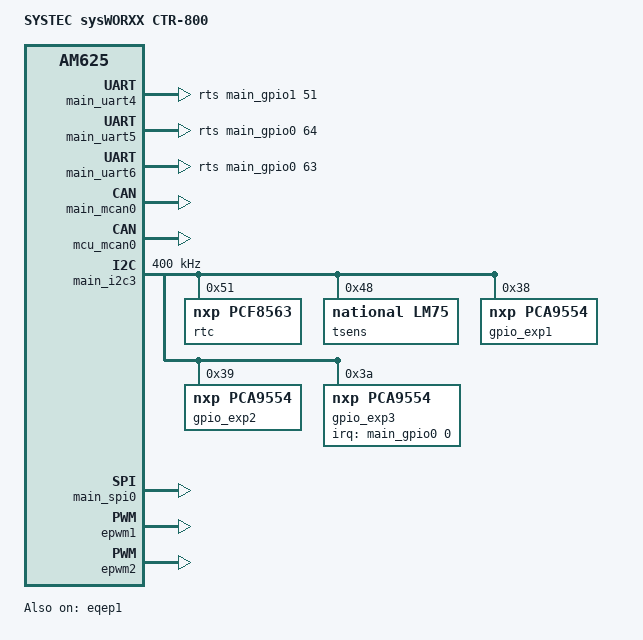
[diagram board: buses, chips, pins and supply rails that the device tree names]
/*
 * Copyright (C) 2023 SYSTEC electronic AG, All Rights Reserved
 *
 * This program is free software; you can redistribute it and/or modify
 * it under the terms of the GNU General Public License version 2 as
 * published by the Free Software Foundation.
 */
/dts-v1/;

#include "k3-am625.dtsi"
#include "k3-am623-systec-ctr800-pinmux-0.dtsi"
#include "k3-am623-systec-ctr-common.dtsi"

/ {
	model = "SYSTEC sysWORXX CTR-800";
	compatible = "systec,ctr800,rev0", "systec,ctr800", "ti,am625";

	aliases {
		// serial0 = &mcu_uart0;
		// serial2 = &main_uart0;
		serial4 = &main_uart4;
		serial5 = &main_uart5;
		serial6 = &main_uart6;
		rtc0 = &rtc;
		rtc1 = &wkup_rtc0;
	};
};

// SERIAL0
&main_uart4 {
	pinctrl-names = "default";
	pinctrl-0 = <&uart4_serial0_pins_default>;
	status = "okay";
	// uart-has-rtscts;
	rts-gpios = <&main_gpio1 51 GPIO_ACTIVE_HIGH>;
	// sermode-gpio = <&gpio_exp2 0 GPIO_ACTIVE_HIGH>;
};

// SERIAL1
&main_uart5 {
	pinctrl-names = "default";
	pinctrl-0 = <&uart5_serial1_pins_default>;
	status = "okay";
	// uart-has-rtscts;
	rts-gpios = <&main_gpio0 64 GPIO_ACTIVE_HIGH>;
	// sermode-gpio = <&gpio_exp2 1 GPIO_ACTIVE_HIGH>;
};

// SERIAL2
&main_uart6 {
	pinctrl-names = "default";
	pinctrl-0 = <&uart6_serial2_pins_default>;
	status = "okay";
	// uart-has-rtscts;
	rts-gpios = <&main_gpio0 63 GPIO_ACTIVE_HIGH>;
	// sermode-gpio = <&gpio_exp2 2 GPIO_ACTIVE_HIGH>;
};

// CAN0
&main_mcan0 {
	pinctrl-names = "default";
	pinctrl-0 = <&mcan0_pins_default>;
	status = "okay";
};

// CAN1
&mcu_mcan0 {
	pinctrl-names = "default";
	pinctrl-0 = <&mcumcan0_pins_default>;
	status = "okay";
};

// I2C3_BOARD
&main_i2c3 {
	status = "okay";
	pinctrl-names = "default";
	pinctrl-0 = <&i2c3board_pins_default>;
	clock-frequency = <400000>;

	/* RTC */
	rtc: pcf8563@51 {
		compatible = "nxp,pcf8563";
		reg = <0x51>;
	};

	/* Temperature sensor */
	tsens: lm75b@48 {
		compatible = "national,lm75";
		reg = <0x48>;
	};

	/* I/O expander for current/voltage switch (ADC) */
	gpio_exp1: pca9554@38 {
		compatible = "nxp,pca9554";
		reg = <0x38>;
		gpio-controller;
		#gpio-cells = <2>;
		gpio-line-names =
			"EN_U0", "EN_U1", "EN_U2", "EN_U3",
			"EN_I0", "EN_I1", "EN_I2", "EN_I3";
	};

	/* I/O expander for RS232/485 switching and DI filter configuration */
	gpio_exp2: pca9554@39 {
		compatible = "nxp,pca9554";
		reg = <0x39>;
		gpio-controller;
		#gpio-cells = <2>;
		gpio-line-names =
			"SER0_MODE", "SER1_MODE", "SER2_MODE", "DS0",
			"DS1",       "",          "",          "";
	};

	/* I/O expander for diagnose */
	gpio_exp3: pca9554@3a {
		compatible = "nxp,pca9554";
		reg = <0x3a>;
		gpio-controller;
		#gpio-cells = <2>;
		gpio-line-names =
			"DO0_PF", "DO_DIAG", "/DI_ERR", "USB1_OC",
			"",       "",        "",        "";
		interrupt-controller;
		interrupt-parent = <&main_gpio0>;
		interrupts = <0 IRQ_TYPE_EDGE_FALLING>;
		// https://e2e.ti.com/support/processors-group/processors/f/processors-forum/1262930/am625-request_irq-return--22
	};
};

&main_spi0 {
	status = "okay";
	pinctrl-names = "default";
	pinctrl-0 = <&spi0_pins_default>;
	#address-cells = <1>;
	#size-cells = <0>;
	cs-gpios = <&main_gpio0 7 GPIO_ACTIVE_LOW>;

	// spidev@0 {
	// 	spi-max-frequency = <1000000>;
	// 	reg = <0>;
	// };
};

&epwm1 {
	pinctrl-names = "default";
	pinctrl-0 = <&pwm1do14_pins_default>;
	status = "okay";
};

&epwm2 {
	pinctrl-names = "default";
	pinctrl-0 = <&pwm2do15_pins_default>;
	status = "okay";
};

&eqep1 {
	pinctrl-names = "default";
	pinctrl-0 = <&eqep0di14di15_pins_default>;
	status = "okay";
};

&main_gpio0 {
	pinctrl-names = "default";
	pinctrl-0 = <&gpio0_pins_default>;
	gpio-line-names      =
		"/COM_DIAG_INT", "DO_10",    "",        "RELAY0_EN",     // 0
		"RELAY1_EN",     "LED_RUN",  "LED_ERR", "SPI2_SS",       // 4
		"",              "",         "",        "RUN_SW",        // 8
		"/BOOT",         "SER1_RX",  "SER1_TX", "",              // 12
		"",              "DO_9",     "",        "DO_12",         // 16
		"DO_13",         "",         "",        "",              // 20
		"",              "",         "DO_11",   "",              // 24
		"",              "",         "",        "DI_0",          // 28
		"DI_1",          "DI_2",     "DI_3",    "DI_4",          // 32
		"DI_5",          "DI_6",     "DI_7",    "DI_8",          // 36
		"DI_9",          "DI_10",    "DI_11",   "/PF",           // 40
		"",              "DI_12",    "DI_13",   "DI_14",         // 44
		"DI_15",         "SER0_RX",  "SER0_TX", "DO_2",          // 48
		"DO_3",          "SER2_RX",  "SER2_TX", "SER2_RTS",      // 52
		"SER2_CTS",      "DO_4",     "DO_5",    "DO_6",          // 56
		"DO_7",          "DO_8",     "/CONFIG", "SER2_DEN",      // 60
		"SER1_DEN",      "",         "",        "",              // 64
		"",              "",         "",        "WLAN_/DISABLE", // 68
		"BT_REG_ON",     "",         "",        "",              // 72
		"",              "",         "",        "",              // 76
		"",              "",         "",        "",              // 80
		"",              "ETH_MDIO", "ETH_MDC", "",              // 84
		"",              "",         "",        "";              // 88
};

&main_gpio1 {
	pinctrl-names = "default";
	pinctrl-0 = <&gpio1_pins_default>;
	gpio-line-names =
		"",            "",           "",               "",               // 0
		"",            "",           "",               "",               // 4
		"",            "DO_14_PWM",  "eMMC_/RST",      "DI_14_PHA_A",    // 8
		"DI_15_PHA_B", "",           "",               "ETH0_/RST",      // 12
		"",            "SPI2_SCLK",  "SPI2_MOSI",      "SPI2_MISO",      // 16
		"SERVICE_RX",  "SERVICE_TX", "I2C3_BOARD_SCL", "I2C3_BOARD_SDA", // 20
		"MCAN0_TX",    "MCAN0_RX",   "I2C0_SOM_SCL",   "I2C0_SOM_SDA",   // 24
		"DO_15_PWM",   "ETH1_/RST",  "",               "",               // 28
		"",            "",           "",               "",               // 32
		"",            "",           "",               "",               // 36
		"",            "",           "",               "",               // 40
		"",            "",           "",               "",               // 44
		"",            "",           "",               "SER0_DEN",       // 48
		"",            "",           "",               "",               // 52
		"",            "",           "",               "",               // 56
		"",            "",           "",               "",               // 60
		"",            "",           "",               "",               // 64
		"",            "",           "",               "",               // 68
		"",            "",           "",               "",               // 72
		"",            "",           "",               "",               // 76
		"",            "",           "",               "",               // 80
		"",            "",           "",               "",               // 84
		"",            "",           "",               "";               // 88
};

&mcu_gpio0 {
	pinctrl-names = "default";
	pinctrl-0 = <&mcugpio0_pins_default>;
	gpio-line-names =
		"",       "",             "",             "",       // 0
		"",       "BT_RX",        "BT_TX",        "BT_CTS", // 4
		"BT_RTS", "",             "",             "",       // 8
		"",       "MCU_MCAN0_TX", "MCU_MCAN0_RX", "",       // 12
		"",       "DO_0",         "DO_1",         "",       // 16
		"",       "",             "",             "";       // 20
};
